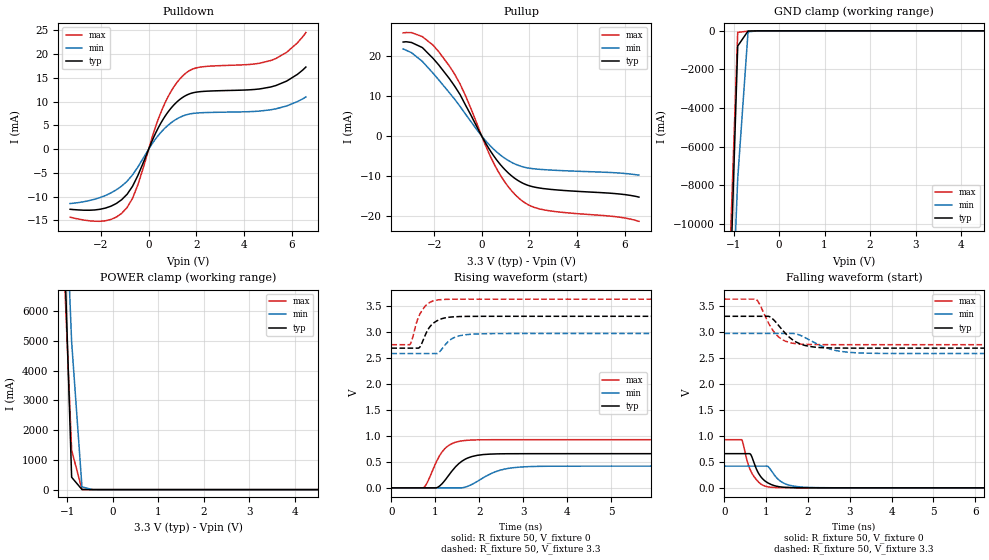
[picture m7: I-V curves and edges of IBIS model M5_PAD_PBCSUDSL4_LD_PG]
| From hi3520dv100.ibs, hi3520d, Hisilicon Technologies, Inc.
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[Model] M5_PAD_PBCSUDSL4_LD_PG
Model_type I/O
Vinl  =  0.8
Vinh  =  2
| Capacitance   typ   min   max
C_comp   3.57061683089e-12   3.82895417095e-12   3.34958467437e-12
| Variables   typ   min   max
[GND Clamp Reference]   0   0   0
[POWER Clamp Reference]   3.3   2.97   3.63
[Pulldown Reference]   0   0   0
[Pullup Reference]   3.3   2.97   3.63
[Temperature Range]   25   125   -40
[Voltage Range]   3.3   2.97   3.63
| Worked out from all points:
|   slope of the pulldown table from 0 to 0.495 V, typ, clamps not added: 92.6 ohm
|   slope of the pullup table from 0 to 0.495 V, typ, clamps not added: 102 ohm
|   GND clamp passes 1 mA (typ) near -0.47 V on its own axis
|   POWER clamp passes 1 mA (typ) near -0.51 V on its own axis
|   falling waveform, R_fixture 50, V_fixture 0: 20-80 % time 283ps typ, 319ps min, 260ps max; typ from 0.658 V to 0 V
|   falling waveform, R_fixture 50, V_fixture 3.3: 20-80 % time 466ps typ, 641ps min, 374ps max; typ from 3.3 V to 2.69 V
|   rising waveform, R_fixture 50, V_fixture 0: 20-80 % time 424ps typ, 584ps min, 340ps max; typ from 0 V to 0.658 V
|   rising waveform, R_fixture 50, V_fixture 3.3: 20-80 % time 264ps typ, 294ps min, 238ps max; typ from 2.69 V to 3.3 V
[GND Clamp]
| Voltage   I(typ)   I(min)   I(max)
-3.3V     -188.8A    -149A      -233.7A
-1.134V   -17.95A    -21.05A    -15.29A
-907.5mV  -786.7mA   -7.652A    -79.55mA
-680.6mV  -11.81mA   -50.68mA   -16.41mA
-453.7mV  -314.5uA   -586.9uA   -272.1uA
6.6V      0A         0A         0A
[POWER Clamp]
| Voltage   I(typ)   I(min)   I(max)
-3.3V     123.1A     97.09A     152.4A
-1.134V   11.45A     13.48A     9.697A
-907.5mV  415.2mA    4.97A      1.325A
-680.6mV  3.601mA    92.24mA    5.251mA
-453.7mV  104.3uA    865.1uA    659.7uA
6.6V      0A         0A         0A
[Pulldown]
| Voltage   I(typ)   I(min)   I(max)
-3.3V     -12.65mA   -11.45mA   -14.32mA
-1.815V   -12.4mA    -9.75mA    -15.08mA
-907.5mV  -9.492mA   -6.753mA   -12.27mA
-453.7mV  -5.538mA   -3.754mA   -7.493mA
206.2mV   2.469mA    1.585mA    3.481mA
618.8mV   6.397mA    4.114mA    9.002mA
1.083V    9.443mA    6.06mA     13.31mA
1.547V    11.26mA    7.179mA    15.95mA
2.166V    12.11mA    7.655mA    17.27mA
5.115V    13.08mA    8.282mA    18.64mA
5.796V    14.34mA    9.094mA    20.39mA
6.6V      17.28mA    11mA       24.54mA
[Pullup]
| Voltage   I(typ)   I(min)   I(max)
-3.3V     23.5mA     21.76mA    25.79mA
-2.949V   23.39mA    20.84mA    25.86mA
-2.496V   22.13mA    18.67mA    24.87mA
-2.042V   19.41mA    15.7mA     22.71mA
-1.361V   14.38mA    10.85mA    17.54mA
-680.6mV  7.738mA    5.473mA    10.09mA
103.1mV   -1.124mA   -747.6uA   -1.544mA
567.2mV   -5.476mA   -3.641mA   -7.508mA
1.083V    -9.04mA    -5.983mA   -12.42mA
1.65V     -11.55mA   -7.547mA   -15.97mA
2.63V     -13.14mA   -8.392mA   -18.46mA
6.6V      -15.25mA   -9.766mA   -21.3mA
[Ramp]
dV/dt_r   0.394617/0.424462n  0.250821/0.584164n  0.556029/0.339919n
dV/dt_f   0.367746/0.465883n  0.231893/0.641105n  0.525768/0.374007n
R_load = 50
[Falling Waveform]
R_fixture = 50
V_fixture = 0
V_fixture_min = 0
V_fixture_max = 0
| Time   V(typ)   V(min)   V(max)
0s        657.7mV    418mV      926.7mV
412ps     657.7mV    418mV      926.7mV
608.5ps   657.7mV    418mV      365.5mV
710.6ps   478.6mV    418mV      213.7mV
877.4ps   207.1mV    418mV      71.66mV
1.034ns   99.04mV    416.4mV    21.27mV
1.27ns    28.06mV    176.6mV    4.034mV
1.737ns   2.797mV    24.82mV    1.05mV
2.762ns   845.7uV    911.8uV    124.5uV
100ns     8.619nV    65.08nV    25.87nV
[Falling Waveform]
R_fixture = 50
V_fixture = 3.3
V_fixture_min = 2.97
V_fixture_max = 3.63
| Time   V(typ)   V(min)   V(max)
0s        3.3V       2.97V      3.63V
756.9ps   3.3V       2.97V      3.627V
836.9ps   3.3V       2.97V      3.54V
1.093ns   3.288V     2.97V      3.116V
1.369ns   3.054V     2.97V      2.859V
1.715ns   2.805V     2.961V     2.773V
2.205ns   2.704V     2.772V     2.755V
2.825ns   2.689V     2.621V     2.754V
4.071ns   2.687V     2.584V     2.754V
100ns     2.687V     2.584V     2.754V
[Rising Waveform]
R_fixture = 50
V_fixture = 0
V_fixture_min = 0
V_fixture_max = 0
| Time   V(typ)   V(min)   V(max)
0s        9.097nV    63.53nV    25.31nV
730.8ps   109.7uV    68.05uV    3.249mV
815.6ps   109.7uV    75.94uV    99.85mV
1.038ns   4.867mV    91.95uV    524.8mV
1.245ns   172.9mV    91.95uV    776.3mV
1.607ns   514.2mV    588.5uV    903.7mV
1.953ns   625.4mV    122.8mV    923.3mV
2.648ns   656.3mV    372.4mV    926.3mV
3.851ns   657.5mV    417.2mV    926.3mV
100ns     657.7mV    418mV      926.7mV
[Rising Waveform]
R_fixture = 50
V_fixture = 3.3
V_fixture_min = 2.97
V_fixture_max = 3.63
| Time   V(typ)   V(min)   V(max)
0s        2.687V     2.584V     2.754V
434.5ps   2.687V     2.584V     2.77V
640.8ps   2.7V       2.584V     3.328V
832.9ps   3.043V     2.584V     3.545V
1.059ns   3.222V     2.591V     3.615V
1.289ns   3.279V     2.81V      3.626V
1.465ns   3.291V     2.903V     3.629V
1.789ns   3.298V     2.953V     3.629V
2.864ns   3.3V       2.97V      3.629V
100ns     3.3V       2.97V      3.63V
